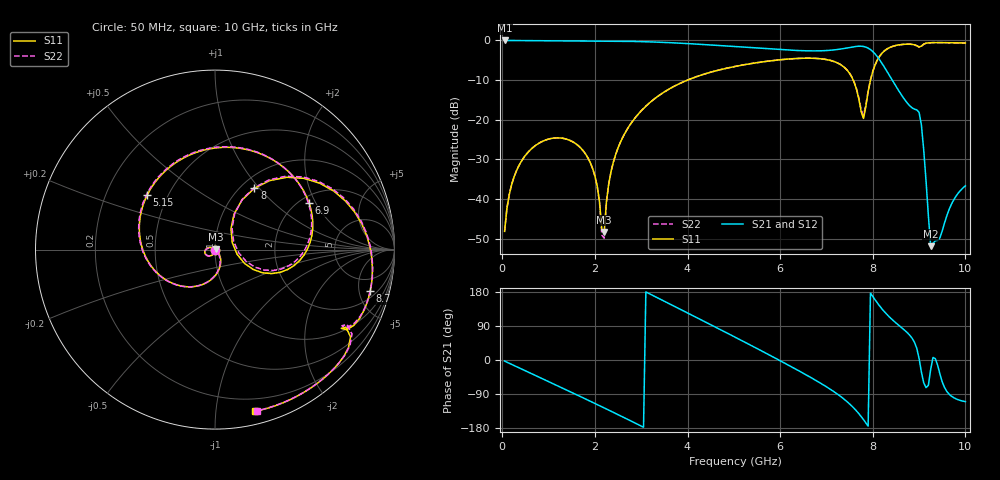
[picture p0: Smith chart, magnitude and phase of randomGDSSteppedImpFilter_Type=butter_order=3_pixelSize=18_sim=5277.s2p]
! freq	dB(S11)	phase(S11)	dB(S12)	phase(S12)
!  dB(S21)	phase(S21)	dB(S22)	phase(S22)
!S-par simulation data
#  GHz  S  DB  R 50
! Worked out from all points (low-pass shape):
!   200 points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, 50 MHz to 10 GHz, reference 50 ohm
!   highest |S21| = -0.01 dB at 50 MHz (marker M1); lowest = -51.9 dB at 9.25 GHz (marker M2)
!   |S21| within 3 dB of the highest: start of sweep to 8.017 GHz
!   lowest |S11| = -48.3 dB at 2.2 GHz (marker M3), VSWR 1.01, Z = 50.4 + j0.0637 ohm
!   |S11| at or under -10 dB: start of sweep to 4 GHz; 7.576 GHz to 7.951 GHz (374.3 MHz wide, 4.82 % of centre)
!   |S22| runs from -49.9 to -0.6 dB; largest |S21 - S12| = 0
!   S11 on the Smith chart (normalised r, x): 50 MHz: 1.00, -0.01; 5.15 GHz: 0.38, +0.31; 6.9 GHz: 2.24, +1.77; 8 GHz: 1.15, +0.94; 8.7 GHz: 2.73, -6.43; 10 GHz: 0.10, -1.27
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0.05  -48.16 -85.3  -0.01 -2.9  -0.01 -2.9  -48.15 -85.2
0.25  -34.56 -103.2  -0.03 -14.3  -0.03 -14.3  -34.55 -102.9
0.6  -27.67 -124.7  -0.05 -34.3  -0.05 -34.3  -27.67 -124.1
1.75  -27.87 166.3  -0.13 -100.1  -0.13 -100.1  -27.88 170.6
2  -34.18 147.8  -0.14 -114.6  -0.14 -114.6  -34.23 158.3
2.2  -48.31 9.5  -0.15 -126.4  -0.15 -126.4  -49.87 -70.0
2.3  -36.06 -34.0  -0.16 -132.3  -0.16 -132.3  -36.12 -48.3
2.5  -27.09 -51.8  -0.19 -144.2  -0.19 -144.2  -27.09 -56.8
3.4  -13.76 -109.3  -0.45 161.2  -0.45 161.2  -13.75 -109.6
4.25  -8.91 -162.3  -0.96 108.7  -0.96 108.7  -8.91 -161.3
5.05  -6.51 147.5  -1.56 58.9  -1.56 58.9  -6.50 149.3
5.15  -6.29 141.1  -1.64 52.6  -1.64 52.6  -6.28 143.1
6.7  -4.49 40.1  -2.64 -48.8  -2.64 -48.8  -4.49 42.9
6.9  -4.66 26.3  -2.61 -63.2  -2.61 -63.2  -4.65 29.0
7.5  -8.32 -19.3  -1.78 -115.9  -1.78 -115.9  -8.28 -16.2
7.8  -19.69 22.2  -1.53 -157.3  -1.53 -157.3  -18.92 23.3
8  -7.84 57.3  -2.80 167.6  -2.80 167.6  -7.79 57.7
8.35  -1.88 15.1  -8.64 114.6  -8.64 114.6  -1.88 16.1
8.7  -0.96 -15.1  -15.10 77.2  -15.10 77.2  -0.97 -14.0
9.05  -1.43 -30.7  -21.32 -32.1  -21.32 -32.1  -1.47 -29.5
9.25  -0.57 -42.6  -51.89 -25.3  -51.89 -25.3  -0.58 -41.6
10  -0.65 -76.1  -36.67 -109.8  -36.67 -109.8  -0.65 -75.4
